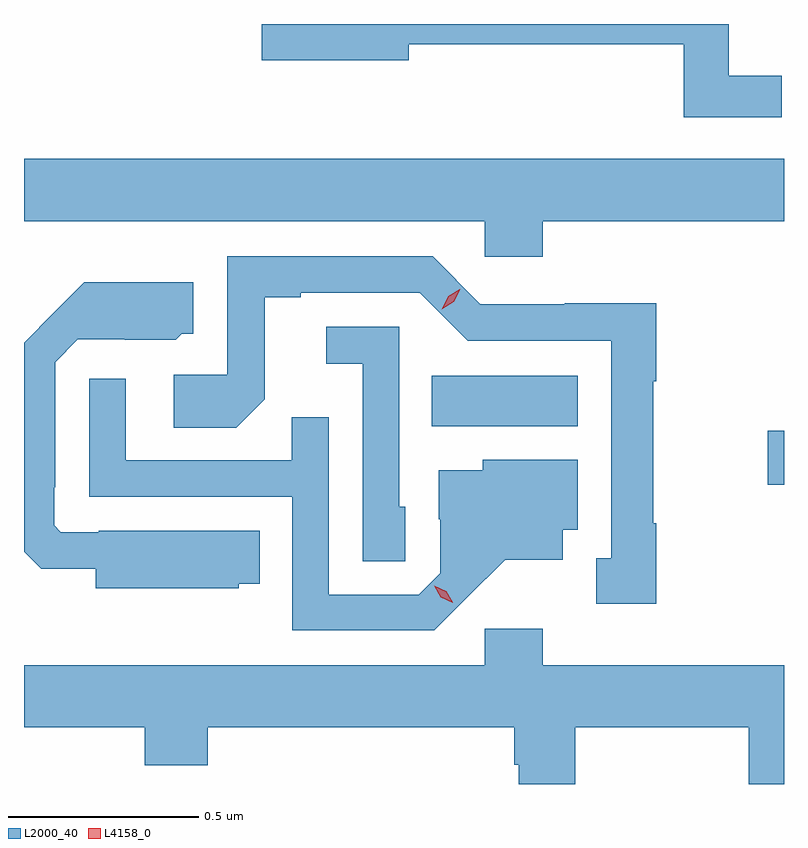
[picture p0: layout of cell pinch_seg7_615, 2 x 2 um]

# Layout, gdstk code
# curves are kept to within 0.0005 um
import gdstk
lib = gdstk.Library(unit=1e-6, precision=1e-09)
def R(c, l, rs):  # rectangles x0, y0, x1, y1
    for r in rs: c.add(gdstk.rectangle(r[:2], r[2:], *l))
def P(c, l, *ps):  # polygons
    for p in ps: c.add(gdstk.Polygon(p, *l))
L2000_40 = (2000, 40)
L4158_0 = (4158, 0)

pinch_seg7_615 = lib.new_cell('pinch_seg7_615')
R(pinch_seg7_615, L2000_40, [(185.982,1047.874,186.025,1048.016), (185.098,1048.028,185.482,1048.162)])
P(pinch_seg7_615, L2000_40, [(186.019,1048.951),(185.879,1048.951),(185.879,1049.087),(184.65,1049.087),(184.65,1048.991),(185.038,1048.991),(185.038,1049.034),(185.761,1049.034),(185.761,1048.842),(186.019,1048.842)],
  [(185.39,1048.568),(186.025,1048.568),(186.025,1048.732),(184.025,1048.732),(184.025,1048.568),(185.238,1048.568),(185.238,1048.475),(185.39,1048.475)],
  [(185.689,1047.773),(185.681,1047.773),(185.681,1048.147),(185.689,1048.147),(185.689,1048.352),(185.448,1048.352),(185.448,1048.35),(185.226,1048.35),(185.1,1048.476),(184.56,1048.476),(184.56,1048.164),(184.419,1048.164),(184.419,1048.024),(184.583,1048.024),(184.659,1048.1),(184.659,1048.368),(184.753,1048.368),(184.753,1048.38),(185.067,1048.38),(185.193,1048.254),(185.57,1048.254),(185.57,1047.681),(185.531,1047.681),(185.531,1047.561),(185.689,1047.561)],
  [(184.59,1047.614),(184.646,1047.614),(184.646,1047.754),(184.222,1047.754),(184.222,1047.75),(184.122,1047.75),(184.104,1047.768),(184.104,1047.868),(184.107,1047.868),(184.107,1048.197),(184.167,1048.257),(184.29,1048.257),(184.29,1048.256),(184.424,1048.256),(184.44,1048.272),(184.471,1048.272),(184.471,1048.408),(184.183,1048.408),(184.025,1048.248),(184.025,1047.698),(184.07,1047.653),(184.214,1047.653),(184.214,1047.602),(184.59,1047.602)],
  [(185.028,1047.816),(185.013,1047.816),(185.013,1048.29),(184.821,1048.29),(184.821,1048.193),(184.917,1048.193),(184.917,1047.673),(185.028,1047.673)],
  [(185.188,1047.575),(185.291,1047.677),(185.443,1047.677),(185.443,1047.756),(185.482,1047.756),(185.482,1047.94),(185.232,1047.94),(185.232,1047.913),(185.117,1047.913),(185.117,1047.784),(185.121,1047.784),(185.121,1047.642),(185.064,1047.585),(184.827,1047.585),(184.827,1048.052),(184.729,1048.052),(184.729,1047.939),(184.293,1047.939),(184.293,1048.153),(184.197,1048.153),(184.197,1047.843),(184.731,1047.843),(184.731,1047.492),(185.104,1047.492)],
  [(185.475,1047.236),(185.932,1047.236),(185.932,1047.087),(186.025,1047.087),(186.025,1047.4),(185.39,1047.4),(185.39,1047.496),(185.238,1047.496),(185.238,1047.4),(184.025,1047.4),(184.025,1047.236),(184.343,1047.236),(184.343,1047.137),(184.508,1047.137),(184.508,1047.236),(185.315,1047.236),(185.315,1047.138),(185.327,1047.138),(185.327,1047.087),(185.475,1047.087)])
P(pinch_seg7_615, L4158_0, [(185.124,1048.337),(185.124,1048.337),(185.141,1048.37),(185.172,1048.389),(185.173,1048.389),(185.173,1048.389),(185.156,1048.356),(185.124,1048.337)],
  [(185.153,1047.564),(185.122,1047.579),(185.105,1047.609),(185.105,1047.609),(185.105,1047.609),(185.136,1047.594),(185.153,1047.565),(185.153,1047.564)])

lib.write_gds('pinch_seg7_615.gds')
